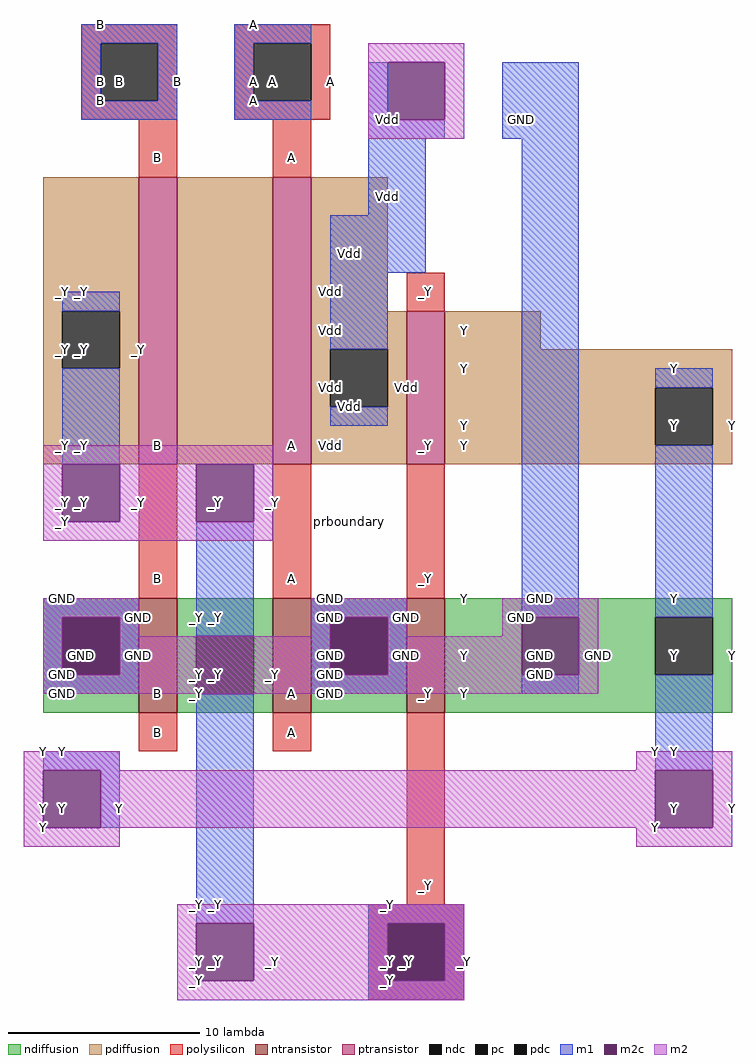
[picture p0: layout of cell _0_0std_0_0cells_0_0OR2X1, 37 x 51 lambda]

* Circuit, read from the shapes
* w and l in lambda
.subckt _0_0std_0_0cells_0_0OR2X1 Y A B
M1 _Y B GND VSUBS nfet w=6 l=2
M2 GND A _Y VSUBS nfet w=6 l=2
M3 Y _Y GND VSUBS nfet w=6 l=2
M4 n1 B _Y NWELL pfet w=15 l=2
M5 Vdd A n1 NWELL pfet w=15 l=2
M6 Y _Y Vdd NWELL pfet w=8 l=2
.ends

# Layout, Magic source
magic
tech sky130l
<< ndiffusion >>
rect 8 23 13 24
rect 8 20 9 23
rect 12 20 13 23
rect 8 18 13 20
rect 15 22 20 24
rect 15 19 16 22
rect 19 19 20 22
rect 15 18 20 19
rect 22 23 27 24
rect 22 20 23 23
rect 26 20 27 23
rect 22 18 27 20
rect 29 23 44 24
rect 29 20 40 23
rect 43 20 44 23
rect 29 18 44 20
<< ndc >>
rect 9 20 12 23
rect 16 19 19 22
rect 23 20 26 23
rect 40 20 43 23
<< ntransistor >>
rect 13 18 15 24
rect 20 18 22 24
rect 27 18 29 24
<< pdiffusion >>
rect 8 39 13 46
rect 8 36 9 39
rect 12 36 13 39
rect 8 31 13 36
rect 15 31 20 46
rect 22 39 26 46
rect 22 37 27 39
rect 22 34 23 37
rect 26 34 27 37
rect 22 31 27 34
rect 29 37 34 39
rect 29 35 44 37
rect 29 32 40 35
rect 43 32 44 35
rect 29 31 44 32
<< pdc >>
rect 9 36 12 39
rect 23 34 26 37
rect 40 32 43 35
<< ptransistor >>
rect 13 31 15 46
rect 20 31 22 46
rect 27 31 29 39
<< polysilicon >>
rect 10 53 15 54
rect 10 50 11 53
rect 14 50 15 53
rect 10 49 15 50
rect 18 53 23 54
rect 18 50 19 53
rect 22 50 23 53
rect 18 49 23 50
rect 13 46 15 49
rect 20 46 22 49
rect 27 39 29 41
rect 13 24 15 31
rect 20 24 22 31
rect 27 24 29 31
rect 13 16 15 18
rect 20 16 22 18
rect 27 8 29 18
rect 25 7 30 8
rect 25 4 26 7
rect 29 4 30 7
rect 25 3 30 4
<< pc >>
rect 11 50 14 53
rect 19 50 22 53
rect 26 4 29 7
<< m1 >>
rect 10 53 15 54
rect 10 50 11 53
rect 14 50 15 53
rect 10 49 15 50
rect 18 53 22 54
rect 18 50 19 53
rect 18 49 22 50
rect 25 49 26 52
rect 25 48 29 49
rect 32 48 36 52
rect 25 44 28 48
rect 23 41 28 44
rect 9 39 12 40
rect 9 31 12 36
rect 23 37 26 41
rect 23 33 26 34
rect 8 23 13 24
rect 8 20 9 23
rect 12 20 13 23
rect 8 19 13 20
rect 16 22 19 28
rect 22 23 27 24
rect 22 20 23 23
rect 26 20 27 23
rect 22 19 27 20
rect 33 23 36 48
rect 33 19 36 20
rect 40 35 43 36
rect 40 23 43 32
rect 8 15 12 16
rect 11 12 12 15
rect 16 7 19 19
rect 40 15 43 20
rect 25 7 30 8
rect 25 4 26 7
rect 29 4 30 7
rect 25 3 30 4
<< m2c >>
rect 26 49 29 52
rect 9 28 12 31
rect 16 28 19 31
rect 9 20 12 23
rect 23 20 26 23
rect 33 20 36 23
rect 8 12 11 15
rect 40 12 43 15
rect 16 4 19 7
rect 26 4 29 7
<< m2 >>
rect 25 52 30 53
rect 25 49 26 52
rect 29 49 30 52
rect 25 48 30 49
rect 8 31 20 32
rect 8 28 9 31
rect 12 28 16 31
rect 19 28 20 31
rect 8 27 20 28
rect 8 23 13 24
rect 8 20 9 23
rect 12 22 13 23
rect 22 23 27 24
rect 22 22 23 23
rect 12 20 23 22
rect 26 22 27 23
rect 32 23 37 24
rect 32 22 33 23
rect 26 20 33 22
rect 36 20 37 23
rect 8 19 37 20
rect 7 15 12 16
rect 39 15 44 16
rect 7 12 8 15
rect 11 12 40 15
rect 43 12 44 15
rect 7 11 12 12
rect 39 11 44 12
rect 15 7 30 8
rect 15 4 16 7
rect 19 4 26 7
rect 29 4 30 7
rect 15 3 30 4
<< labels >>
rlabel space 0 0 48 56 6 prboundary
rlabel ndiffusion 44 21 44 21 3 Y
rlabel pdiffusion 44 33 44 33 3 Y
rlabel ndiffusion 30 19 30 19 3 Y
rlabel ndiffusion 30 21 30 21 3 Y
rlabel ndiffusion 30 24 30 24 3 Y
rlabel pdiffusion 30 32 30 32 3 Y
rlabel pdiffusion 30 33 30 33 3 Y
rlabel pdiffusion 30 36 30 36 3 Y
rlabel pdiffusion 30 38 30 38 3 Y
rlabel pdiffusion 27 35 27 35 3 Vdd
rlabel polysilicon 28 40 28 40 3 _Y
rlabel polysilicon 23 51 23 51 3 A
rlabel ntransistor 28 19 28 19 3 _Y
rlabel polysilicon 28 25 28 25 3 _Y
rlabel ptransistor 28 32 28 32 3 _Y
rlabel polysilicon 21 47 21 47 3 A
rlabel ndiffusion 23 19 23 19 3 GND
rlabel ndiffusion 20 20 20 20 3 _Y
rlabel pdiffusion 23 32 23 32 3 Vdd
rlabel pdiffusion 23 35 23 35 3 Vdd
rlabel pdiffusion 23 38 23 38 3 Vdd
rlabel pdiffusion 23 40 23 40 3 Vdd
rlabel polysilicon 28 9 28 9 3 _Y
rlabel polysilicon 21 17 21 17 3 A
rlabel ntransistor 21 19 21 19 3 A
rlabel polysilicon 21 25 21 25 3 A
rlabel ptransistor 21 32 21 32 3 A
rlabel ndiffusion 16 19 16 19 3 _Y
rlabel ndiffusion 16 20 16 20 3 _Y
rlabel ndiffusion 16 23 16 23 3 _Y
rlabel pdiffusion 13 37 13 37 3 _Y
rlabel polysilicon 14 47 14 47 3 B
rlabel polysilicon 14 17 14 17 3 B
rlabel ntransistor 14 19 14 19 3 B
rlabel polysilicon 14 25 14 25 3 B
rlabel ptransistor 14 32 14 32 3 B
rlabel ndiffusion 9 19 9 19 3 GND
rlabel pdiffusion 9 37 9 37 3 _Y
rlabel pdiffusion 9 40 9 40 3 _Y
rlabel ndc 41 21 41 21 3 Y
port 1 e
rlabel m1 41 24 41 24 3 Y
port 1 e
rlabel pdc 41 33 41 33 3 Y
port 1 e
rlabel m1 41 36 41 36 3 Y
port 1 e
rlabel m1 33 49 33 49 3 GND
rlabel m1 41 16 41 16 3 Y
port 1 e
rlabel m1 34 20 34 20 3 GND
rlabel m1 34 24 34 24 3 GND
rlabel m1 26 45 26 45 3 Vdd
rlabel m1 26 49 26 49 3 Vdd
rlabel m1 26 5 26 5 3 _Y
rlabel m1 26 8 26 8 3 _Y
rlabel m1 24 34 24 34 3 Vdd
rlabel pdc 24 35 24 35 3 Vdd
rlabel m1 24 38 24 38 3 Vdd
rlabel m1 24 42 24 42 3 Vdd
rlabel m1 26 4 26 4 3 _Y
rlabel m1 23 20 23 20 3 GND
rlabel m1 23 21 23 21 3 GND
rlabel m1 17 23 17 23 3 _Y
rlabel pc 20 51 20 51 3 A
port 2 e
rlabel m1 15 51 15 51 3 B
port 3 e
rlabel m1 17 8 17 8 3 _Y
rlabel m1 19 50 19 50 3 A
port 2 e
rlabel m1 19 51 19 51 3 A
port 2 e
rlabel m1 19 54 19 54 3 A
port 2 e
rlabel pc 12 51 12 51 3 B
port 3 e
rlabel ndc 17 20 17 20 3 _Y
rlabel m1 11 50 11 50 3 B
port 3 e
rlabel m1 11 51 11 51 3 B
port 3 e
rlabel m1 11 54 11 54 3 B
port 3 e
rlabel m1 10 32 10 32 3 _Y
rlabel pdc 10 37 10 37 3 _Y
rlabel m1 10 40 10 40 3 _Y
rlabel m1 9 16 9 16 3 Y
port 1 e
rlabel m2 30 5 30 5 3 _Y
rlabel m2 37 21 37 21 3 GND
rlabel m2 33 23 33 23 3 GND
rlabel m2c 27 5 27 5 3 _Y
rlabel m2c 34 21 34 21 3 GND
rlabel m2 20 5 20 5 3 _Y
rlabel m2 40 12 40 12 3 Y
port 1 e
rlabel m2 27 21 27 21 3 GND
rlabel m2 27 23 27 23 3 GND
rlabel m2 23 23 23 23 3 GND
rlabel m2 33 24 33 24 3 GND
rlabel m2 20 29 20 29 3 _Y
rlabel m2c 17 5 17 5 3 _Y
rlabel m2 44 13 44 13 3 Y
port 1 e
rlabel m2c 24 21 24 21 3 GND
rlabel m2c 17 29 17 29 3 _Y
rlabel m2 16 4 16 4 3 _Y
rlabel m2 16 5 16 5 3 _Y
rlabel m2 16 8 16 8 3 _Y
rlabel m2c 41 13 41 13 3 Y
port 1 e
rlabel m2 13 21 13 21 3 GND
rlabel m2 13 23 13 23 3 GND
rlabel m2 23 24 23 24 3 GND
rlabel m2 13 29 13 29 3 _Y
rlabel m2 12 13 12 13 3 Y
port 1 e
rlabel m2 40 16 40 16 3 Y
port 1 e
rlabel m2c 10 21 10 21 3 GND
rlabel m2c 10 29 10 29 3 _Y
rlabel m2c 9 13 9 13 3 Y
port 1 e
rlabel m2 9 20 9 20 3 GND
rlabel m2 9 21 9 21 3 GND
rlabel m2 9 24 9 24 3 GND
rlabel m2 9 28 9 28 3 _Y
rlabel m2 9 29 9 29 3 _Y
rlabel m2 9 32 9 32 3 _Y
rlabel m2 8 12 8 12 3 Y
port 1 e
rlabel m2 8 13 8 13 3 Y
port 1 e
rlabel m2 8 16 8 16 3 Y
port 1 e
<< end >>
